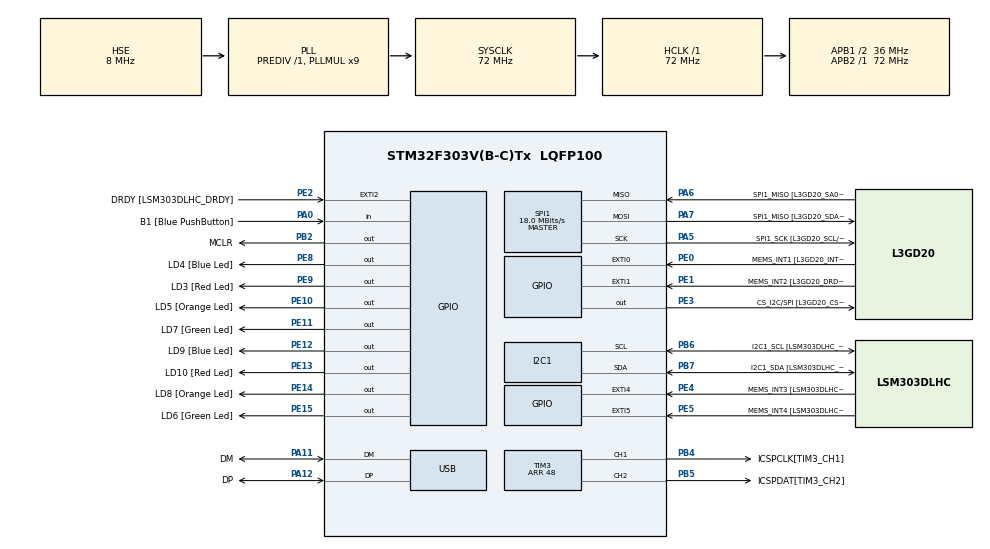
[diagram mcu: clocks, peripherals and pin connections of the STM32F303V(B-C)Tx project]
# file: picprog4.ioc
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CRC.CRCLength=CRC_POLYLENGTH_16B
CRC.DefaultInitValueUse=DEFAULT_INIT_VALUE_DISABLE
CRC.DefaultPolynomialUse=DEFAULT_POLYNOMIAL_DISABLE
CRC.GeneratingPolynomial=X12+X5+X0
CRC.InitValue=0xFFFF
Dma.Request0=TIM3_CH3
Dma.Request1=TIM3_CH4/UP
Dma.Request2=TIM3_CH1/TRIG
Dma.TIM3_CH1/TRIG.2.Direction=DMA_PERIPH_TO_MEMORY
Dma.TIM3_CH1/TRIG.2.Instance=DMA1_Channel6
Dma.TIM3_CH1/TRIG.2.MemDataAlignment=DMA_MDATAALIGN_HALFWORD
Dma.TIM3_CH1/TRIG.2.MemInc=DMA_MINC_ENABLE
Dma.TIM3_CH1/TRIG.2.Mode=DMA_NORMAL
Dma.TIM3_CH1/TRIG.2.PeriphDataAlignment=DMA_PDATAALIGN_WORD
Dma.TIM3_CH1/TRIG.2.PeriphInc=DMA_PINC_DISABLE
Dma.TIM3_CH1/TRIG.2.Priority=DMA_PRIORITY_LOW
Dma.TIM3_CH3.0.Direction=DMA_MEMORY_TO_PERIPH
Dma.TIM3_CH3.0.Instance=DMA1_Channel2
Dma.TIM3_CH3.0.MemDataAlignment=DMA_MDATAALIGN_BYTE
Dma.TIM3_CH3.0.MemInc=DMA_MINC_ENABLE
Dma.TIM3_CH3.0.Mode=DMA_NORMAL
Dma.TIM3_CH3.0.PeriphDataAlignment=DMA_PDATAALIGN_WORD
Dma.TIM3_CH3.0.PeriphInc=DMA_PINC_DISABLE
Dma.TIM3_CH3.0.Priority=DMA_PRIORITY_LOW
Dma.TIM3_CH4/UP.1.Direction=DMA_MEMORY_TO_PERIPH
Dma.TIM3_CH4/UP.1.Instance=DMA1_Channel3
Dma.TIM3_CH4/UP.1.MemDataAlignment=DMA_MDATAALIGN_BYTE
Dma.TIM3_CH4/UP.1.MemInc=DMA_MINC_ENABLE
Dma.TIM3_CH4/UP.1.Mode=DMA_NORMAL
Dma.TIM3_CH4/UP.1.PeriphDataAlignment=DMA_PDATAALIGN_WORD
Dma.TIM3_CH4/UP.1.PeriphInc=DMA_PINC_DISABLE
Dma.TIM3_CH4/UP.1.Priority=DMA_PRIORITY_MEDIUM
I2C1.Timing-I2C=0x2000090E
Mcu.Family=STM32F3
Mcu.Name=STM32F303V(B-C)Tx
Mcu.Package=LQFP100
NVIC.DMA1_Channel2_IRQn=true\:0\:0\:false\:false\:true\:false\:true
NVIC.DMA1_Channel3_IRQn=true\:0\:0\:false\:false\:true\:false\:true
NVIC.DMA1_Channel6_IRQn=true\:0\:0\:false\:false\:true\:false\:true
NVIC.PriorityGroup=NVIC_PRIORITYGROUP_0
NVIC.USB_LP_CAN_RX0_IRQn=true\:0\:0\:false\:false\:true\:false\:true
PA0.GPIO_Label=B1 [Blue PushButton]
PA0.Signal=GPIO_Input
PA11.GPIO_Label=DM
PA11.Mode=Device
PA11.Signal=USB_DM
PA12.GPIO_Label=DP
PA12.Mode=Device
PA12.Signal=USB_DP
PA13.GPIO_Label=SWDIO
PA13.Mode=Serial_Wire
PA13.Signal=SYS_JTMS-SWDIO
PA14.GPIO_Label=SWCLK
PA14.Mode=Serial_Wire
PA14.Signal=SYS_JTCK-SWCLK
PA5.GPIO_Label=SPI1_SCK [L3GD20_SCL/SPC]
PA5.Mode=Full_Duplex_Master
PA5.Signal=SPI1_SCK
PA6.GPIO_Label=SPI1_MISO [L3GD20_SA0/SDO]
PA6.Mode=Full_Duplex_Master
PA6.Signal=SPI1_MISO
PA7.GPIO_Label=SPI1_MISO [L3GD20_SDA/SDI/SDO]
PA7.Mode=Full_Duplex_Master
PA7.Signal=SPI1_MOSI
PB2.GPIO_Label=MCLR
PB2.PinState=GPIO_PIN_SET
PB2.Signal=GPIO_Output
PB3.GPIO_Label=SWO
PB3.Signal=SYS_JTDO-TRACESWO
PB4.GPIO_Label=ICSPCLK[TIM3_CH1]
PB4.GPIO_PuPd=GPIO_NOPULL
PB4.GPIO_Speed=GPIO_SPEED_FREQ_HIGH
PB4.Signal=S_TIM3_CH1
PB5.GPIO_Label=ICSPDAT[TIM3_CH2]
PB5.GPIO_PuPd=GPIO_NOPULL
PB5.GPIO_Speed=GPIO_SPEED_FREQ_HIGH
PB5.Signal=S_TIM3_CH2
PB6.GPIO_Label=I2C1_SCL [LSM303DLHC_SCL]
PB6.Mode=I2C
PB6.Signal=I2C1_SCL
PB7.GPIO_Label=I2C1_SDA [LSM303DLHC_SDA]
PB7.Mode=I2C
PB7.Signal=I2C1_SDA
PC14-OSC32_IN.GPIO_Label=OSC32_IN
PC14-OSC32_IN.Signal=RCC_OSC32_IN
PC15-OSC32_OUT.GPIO_Label=OSC32_OUT
PC15-OSC32_OUT.Signal=RCC_OSC32_OUT
PE0.GPIO_Label=MEMS_INT1 [L3GD20_INT1]
PE0.GPIO_ModeDefaultEXTI=GPIO_MODE_EVT_RISING
PE0.Signal=GPXTI0
PE1.GPIO_Label=MEMS_INT2 [L3GD20_DRDY/INT2]
PE1.GPIO_ModeDefaultEXTI=GPIO_MODE_EVT_RISING
PE1.Signal=GPXTI1
PE10.GPIO_Label=LD5 [Orange Led]
PE10.GPIO_PuPd=GPIO_PULLUP
PE10.GPIO_Speed=GPIO_SPEED_FREQ_HIGH
PE10.Signal=GPIO_Output
PE11.GPIO_Label=LD7 [Green Led]
PE11.GPIO_PuPd=GPIO_PULLUP
PE11.GPIO_Speed=GPIO_SPEED_FREQ_HIGH
PE11.Signal=GPIO_Output
PE12.GPIO_Label=LD9 [Blue Led]
PE12.GPIO_PuPd=GPIO_PULLUP
PE12.GPIO_Speed=GPIO_SPEED_FREQ_HIGH
PE12.Signal=GPIO_Output
PE13.GPIO_Label=LD10 [Red Led]
PE13.GPIO_PuPd=GPIO_PULLUP
PE13.GPIO_Speed=GPIO_SPEED_FREQ_HIGH
PE13.Signal=GPIO_Output
PE14.GPIO_Label=LD8 [Orange Led]
PE14.GPIO_PuPd=GPIO_PULLUP
PE14.GPIO_Speed=GPIO_SPEED_FREQ_HIGH
PE14.Signal=GPIO_Output
PE15.GPIO_Label=LD6 [Green Led]
PE15.GPIO_PuPd=GPIO_PULLUP
PE15.GPIO_Speed=GPIO_SPEED_FREQ_HIGH
PE15.Signal=GPIO_Output
PE2.GPIO_Label=DRDY [LSM303DLHC_DRDY]
PE2.GPIO_ModeDefaultEXTI=GPIO_MODE_EVT_RISING
PE2.Signal=GPXTI2
PE3.GPIO_Label=CS_I2C/SPI [L3GD20_CS_I2C/SPI]
PE3.Signal=GPIO_Output
PE4.GPIO_Label=MEMS_INT3 [LSM303DLHC_INT1]
PE4.GPIO_ModeDefaultEXTI=GPIO_MODE_EVT_RISING
PE4.Signal=GPXTI4
PE5.GPIO_Label=MEMS_INT4 [LSM303DLHC_INT2]
PE5.GPIO_ModeDefaultEXTI=GPIO_MODE_EVT_RISING
PE5.Signal=GPXTI5
PE8.GPIO_Label=LD4 [Blue Led]
PE8.GPIO_PuPd=GPIO_PULLUP
PE8.GPIO_Speed=GPIO_SPEED_FREQ_HIGH
PE8.Signal=GPIO_Output
PE9.GPIO_Label=LD3 [Red Led]
PE9.GPIO_PuPd=GPIO_PULLUP
PE9.GPIO_Speed=GPIO_SPEED_FREQ_HIGH
PE9.Signal=GPIO_Output
PF0-OSC_IN.GPIO_Label=OSC_IN
PF0-OSC_IN.Mode=HSE-External-Clock-Source
PF0-OSC_IN.Signal=RCC_OSC_IN
PF1-OSC_OUT.GPIO_Label=OSC_OUT
PF1-OSC_OUT.Signal=RCC_OSC_OUT
ProjectManager.HeapSize=0x2000
ProjectManager.StackSize=0x400
ProjectManager.TargetToolchain=STM32CubeIDE
RCC.AHBFreq_Value=72000000
RCC.APB1CLKDivider=RCC_HCLK_DIV2
RCC.APB1Freq_Value=36000000
RCC.APB1TimFreq_Value=72000000
RCC.APB2Freq_Value=72000000
RCC.APB2TimFreq_Value=72000000
RCC.CortexFreq_Value=72000000
RCC.HCLKFreq_Value=72000000
RCC.HSE_VALUE=8000000
RCC.HSI_VALUE=8000000
RCC.LSE_VALUE=32768
RCC.PLLMUL=RCC_PLL_MUL9
RCC.PRESCALERUSB=RCC_USBCLKSOURCE_PLL_DIV1_5
RCC.SYSCLKFreq_VALUE=72000000
RCC.SYSCLKSourceVirtual=RCC_SYSCLKSOURCE_PLLCLK
RCC.USBFreq_Value=48000000
SH.S_TIM3_CH1.0=TIM3_CH1,PWM Generation1 CH1
SH.S_TIM3_CH2.0=TIM3_CH2,PWM Generation2 CH2
SPI1.BaudRatePrescaler=SPI_BAUDRATEPRESCALER_4
SPI1.BaudRatePrescaler-Full_Duplex_Master=SPI_BAUDRATEPRESCALER_2
SPI1.CalculateBaudRate=18.0 MBits/s
SPI1.CalculateBaudRate-Full_Duplex_Master=24.0 MBits/s
SPI1.Direction=SPI_DIRECTION_2LINES
SPI1.Mode=SPI_MODE_MASTER
SPI1.Mode-Full_Duplex_Master=SPI_MODE_MASTER
SPI1.VirtualType=VM_MASTER
TIM2.AutoReloadPreload=TIM_AUTORELOAD_PRELOAD_ENABLE
TIM2.Period=0xFFFFFFFF
TIM2.Prescaler=47
TIM2.TIM_MasterOutputTrigger=TIM_TRGO_UPDATE
TIM3.AutoReloadPreload=TIM_AUTORELOAD_PRELOAD_ENABLE
TIM3.Channel-Output\ Compare3\ No\ Output=TIM_CHANNEL_3
TIM3.Channel-Output\ Compare4\ No\ Output=TIM_CHANNEL_4
TIM3.Channel-PWM\ Generation1\ CH1=TIM_CHANNEL_1
TIM3.Channel-PWM\ Generation2\ CH2=TIM_CHANNEL_2
TIM3.OCFastMode_PWM-PWM\ Generation1\ CH1=TIM_OCFAST_ENABLE
TIM3.OCFastMode_PWM-PWM\ Generation2\ CH2=TIM_OCFAST_ENABLE
TIM3.Period=48
TIM3.Pulse-Output\ Compare3\ No\ Output=1
TIM3.Pulse-Output\ Compare4\ No\ Output=3
TIM3.Pulse-PWM\ Generation1\ CH1=0
TIM3.Pulse-PWM\ Generation2\ CH2=0
TIM3.TIM_MasterOutputTrigger=TIM_TRGO_RESET
USB_DEVICE.CLASS_NAME_FS=CDC
USB_DEVICE.VirtualMode=Cdc
USB_DEVICE.VirtualModeFS=Cdc_FS
VP_CRC_VS_CRC.Mode=CRC_Activate
VP_TIM2_VS_ClockSourceINT.Mode=Internal
VP_TIM3_VS_ClockSourceINT.Mode=Internal
VP_TIM3_VS_no_output3.Mode=Output Compare3 No Output
VP_TIM3_VS_no_output4.Mode=Output Compare4 No Output
VP_USB_DEVICE_VS_USB_DEVICE_CDC_FS.Mode=CDC_FS
board=STM32F3DISCOVERY

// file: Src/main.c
/* USER CODE BEGIN Header */
/**
  ******************************************************************************
  * @file           : main.c
  * @brief          : Main program body
  ******************************************************************************
  * This notice applies to any and all portions of this file
  * that are not between comment pairs USER CODE BEGIN and
  * USER CODE END. Other portions of this file, whether
  * inserted by the user or by software development tools
  * are owned by their respective copyright owners.
  *
  * Copyright (c) 2018 STMicroelectronics International N.V.
  * All rights reserved.
  *
  * Redistribution and use in source and binary forms, with or without
  * modification, are permitted, provided that the following conditions are met:
  *
  * 1. Redistribution of source code must retain the above copyright notice,
  *    this list of conditions and the following disclaimer.
  * 2. Redistributions in binary form must reproduce the above copyright notice,
  *    this list of conditions and the following disclaimer in the documentation
  *    and/or other materials provided with the distribution.
  * 3. Neither the name of STMicroelectronics nor the names of other
  *    contributors to this software may be used to endorse or promote products
  *    derived from this software without specific written permission.
  * 4. This software, including modifications and/or derivative works of this
  *    software, must execute solely and exclusively on microcontroller or
  *    microprocessor devices manufactured by or for STMicroelectronics.
  * 5. Redistribution and use of this software other than as permitted under
  *    this license is void and will automatically terminate your rights under
  *    this license.
  *
  * THIS SOFTWARE IS PROVIDED BY STMICROELECTRONICS AND CONTRIBUTORS "AS IS"
  * AND ANY EXPRESS, IMPLIED OR STATUTORY WARRANTIES, INCLUDING, BUT NOT
  * LIMITED TO, THE IMPLIED WARRANTIES OF MERCHANTABILITY, FITNESS FOR A
  * PARTICULAR PURPOSE AND NON-INFRINGEMENT OF THIRD PARTY INTELLECTUAL PROPERTY
  * RIGHTS ARE DISCLAIMED TO THE FULLEST EXTENT PERMITTED BY LAW. IN NO EVENT
  * SHALL STMICROELECTRONICS OR CONTRIBUTORS BE LIABLE FOR ANY DIRECT, INDIRECT,
  * INCIDENTAL, SPECIAL, EXEMPLARY, OR CONSEQUENTIAL DAMAGES (INCLUDING, BUT NOT
  * LIMITED TO, PROCUREMENT OF SUBSTITUTE GOODS OR SERVICES; LOSS OF USE, DATA,
  * OR PROFITS; OR BUSINESS INTERRUPTION) HOWEVER CAUSED AND ON ANY THEORY OF
  * LIABILITY, WHETHER IN CONTRACT, STRICT LIABILITY, OR TORT (INCLUDING
  * NEGLIGENCE OR OTHERWISE) ARISING IN ANY WAY OUT OF THE USE OF THIS SOFTWARE,
  * EVEN IF ADVISED OF THE POSSIBILITY OF SUCH DAMAGE.
  *
  ******************************************************************************
  */
/* USER CODE END Header */
#include "main.h"
#include "usb_device.h"

/* USER CODE BEGIN Includes */
#include "picprog.h"
#include "usbd_cdc_if.h"
#include "stm32f303xc.h"
#include "stm32f3xx.h"
#include "stm32f3xx_hal_gpio.h"
/* USER CODE END Includes */

CRC_HandleTypeDef hcrc;

I2C_HandleTypeDef hi2c1;

SPI_HandleTypeDef hspi1;

TIM_HandleTypeDef htim2;
TIM_HandleTypeDef htim3;
DMA_HandleTypeDef hdma_tim3_ch3;
DMA_HandleTypeDef hdma_tim3_ch4_up;
DMA_HandleTypeDef hdma_tim3_ch1_trig;

/* USER CODE BEGIN PV */
extern USBD_HandleTypeDef hUsbDeviceFS;
extern uint16_t tents,tenth,tdly;
extern uint32_t terar,terab,tpint;
extern uint8_t packet_len;
extern volatile uint8_t i_cc1,i_cc3,i_cc4;
extern uint8_t *packet;
extern uint16_t offset;
/* USER CODE END PV */

void SystemClock_Config(void);
static void MX_GPIO_Init(void);
static void MX_DMA_Init(void);
static void MX_I2C1_Init(void);
static void MX_SPI1_Init(void);
static void MX_TIM2_Init(void);
static void MX_TIM3_Init(void);
static void MX_CRC_Init(void);

int main(void)
{

  /* MCU Configuration--------------------------------------------------------*/

  /* Reset of all peripherals, Initializes the Flash interface and the Systick. */
  HAL_Init();

  /* Configure the system clock */
  SystemClock_Config();

  /* Initialize all configured peripherals */
  MX_GPIO_Init();
  MX_DMA_Init();
  MX_I2C1_Init();
  MX_SPI1_Init();
//  MX_USB_DEVICE_Init();
  MX_TIM2_Init();
  MX_TIM3_Init();
  MX_CRC_Init();
  /* USER CODE BEGIN 2 */

  HAL_Delay(1000);

  /* BEGIN USB Reset */

  /* PowerOff USB */

  *(uint16_t*)(USB_CNTR)=USB_CNTR_FRES;
  *(uint16_t*)(USB_ISTR)=0;
  *(uint16_t*)(USB_CNTR)=USB_CNTR_PDWN | USB_CNTR_FRES;

  /* Program USB Pin DP_Pin from Input to Output */

  GPIO_InitTypeDef  GPIO_InitStructure;
  GPIO_InitStructure.Pin = DP_Pin;
  GPIO_InitStructure.Speed = GPIO_SPEED_FREQ_HIGH;
  GPIO_InitStructure.Mode = GPIO_MODE_OUTPUT_PP;
  GPIO_InitStructure.Pull = GPIO_NOPULL;
  HAL_GPIO_Init(DP_GPIO_Port, &GPIO_InitStructure);

  /* Set USB_DP to 0 */

  HAL_GPIO_WritePin(DP_GPIO_Port, DP_Pin, GPIO_PIN_RESET);
  HAL_Delay(2000);

  /* Restore USB Settings */

  MX_USB_DEVICE_Init();
  HAL_Delay(1000);

  /* END USB Reset */

  picprog_init();

  /* USER CODE END 2 */

  /* Infinite loop */
  /* USER CODE BEGIN WHILE */
  while (1)
  {
    uint8_t l;
	if(fb_read()>1)
	{
		switch(packet[3]&0x3F)
		{
			case START:
				HAL_GPIO_WritePin(MCLR_GPIO_Port, MCLR_Pin, GPIO_PIN_SET);
				gpio_af();
				HAL_Delay(5);
				enter_pm();
				send_ack();
				continue;
			case ERASE_ALL:
				erase_all();
				send_ack();
				continue;
			case WRITE:
				if(packet[3]&FLAG_ERASE) row_erase(packet);
				for(l=0;l<N_OF_WRITE_TRIES;l++)
				{
					write_flash(packet);
					if(!(packet[3]&FLAG_CHECK) || test_flash(packet)) break;
					row_erase(packet);
				}
				if(l<N_OF_WRITE_TRIES) send_ack();
				else send_nack();
				continue;
			case READ:
				send_flash(packet);
				continue;
			case STOP:
				exit_pm();
				send_ack();
				gpio_input();
				HAL_Delay(1000);
//				HAL_GPIO_WritePin(MCLR_GPIO_Port, MCLR_Pin, GPIO_PIN_RESET);
				continue;
		}
	}
	HAL_Delay(1);
    /* USER CODE END WHILE */

  }
}

void SystemClock_Config(void)
{
  RCC_OscInitTypeDef RCC_OscInitStruct = {0};
  RCC_ClkInitTypeDef RCC_ClkInitStruct = {0};
  RCC_PeriphCLKInitTypeDef PeriphClkInit = {0};

  /** Initializes the RCC Oscillators according to the specified parameters
  * in the RCC_OscInitTypeDef structure.
  */
  RCC_OscInitStruct.OscillatorType = RCC_OSCILLATORTYPE_HSI|RCC_OSCILLATORTYPE_HSE;
  RCC_OscInitStruct.HSEState = RCC_HSE_BYPASS;
  RCC_OscInitStruct.HSEPredivValue = RCC_HSE_PREDIV_DIV1;
  RCC_OscInitStruct.HSIState = RCC_HSI_ON;
  RCC_OscInitStruct.HSICalibrationValue = RCC_HSICALIBRATION_DEFAULT;
  RCC_OscInitStruct.PLL.PLLState = RCC_PLL_ON;
  RCC_OscInitStruct.PLL.PLLSource = RCC_PLLSOURCE_HSE;
  RCC_OscInitStruct.PLL.PLLMUL = RCC_PLL_MUL9;
  if (HAL_RCC_OscConfig(&RCC_OscInitStruct) != HAL_OK)
  {
    Error_Handler();
  }
  /** Initializes the CPU, AHB and APB buses clocks
  */
  RCC_ClkInitStruct.ClockType = RCC_CLOCKTYPE_HCLK|RCC_CLOCKTYPE_SYSCLK
                              |RCC_CLOCKTYPE_PCLK1|RCC_CLOCKTYPE_PCLK2;
  RCC_ClkInitStruct.SYSCLKSource = RCC_SYSCLKSOURCE_PLLCLK;
  RCC_ClkInitStruct.AHBCLKDivider = RCC_SYSCLK_DIV1;
  RCC_ClkInitStruct.APB1CLKDivider = RCC_HCLK_DIV2;
  RCC_ClkInitStruct.APB2CLKDivider = RCC_HCLK_DIV1;

  if (HAL_RCC_ClockConfig(&RCC_ClkInitStruct, FLASH_LATENCY_2) != HAL_OK)
  {
    Error_Handler();
  }
  PeriphClkInit.PeriphClockSelection = RCC_PERIPHCLK_USB|RCC_PERIPHCLK_I2C1;
  PeriphClkInit.I2c1ClockSelection = RCC_I2C1CLKSOURCE_HSI;
  PeriphClkInit.USBClockSelection = RCC_USBCLKSOURCE_PLL_DIV1_5;
  if (HAL_RCCEx_PeriphCLKConfig(&PeriphClkInit) != HAL_OK)
  {
    Error_Handler();
  }
}

static void MX_CRC_Init(void)
{

  hcrc.Instance = CRC;
  hcrc.Init.DefaultPolynomialUse = DEFAULT_POLYNOMIAL_DISABLE;
  hcrc.Init.DefaultInitValueUse = DEFAULT_INIT_VALUE_DISABLE;
  hcrc.Init.GeneratingPolynomial = 4129;
  hcrc.Init.CRCLength = CRC_POLYLENGTH_16B;
  hcrc.Init.InitValue = 0xFFFF;
  hcrc.Init.InputDataInversionMode = CRC_INPUTDATA_INVERSION_NONE;
  hcrc.Init.OutputDataInversionMode = CRC_OUTPUTDATA_INVERSION_DISABLE;
  hcrc.InputDataFormat = CRC_INPUTDATA_FORMAT_BYTES;
  if (HAL_CRC_Init(&hcrc) != HAL_OK)
  {
    Error_Handler();
  }

}

static void MX_I2C1_Init(void)
{

  hi2c1.Instance = I2C1;
  hi2c1.Init.Timing = 0x2000090E;
  hi2c1.Init.OwnAddress1 = 0;
  hi2c1.Init.AddressingMode = I2C_ADDRESSINGMODE_7BIT;
  hi2c1.Init.DualAddressMode = I2C_DUALADDRESS_DISABLE;
  hi2c1.Init.OwnAddress2 = 0;
  hi2c1.Init.OwnAddress2Masks = I2C_OA2_NOMASK;
  hi2c1.Init.GeneralCallMode = I2C_GENERALCALL_DISABLE;
  hi2c1.Init.NoStretchMode = I2C_NOSTRETCH_DISABLE;
  if (HAL_I2C_Init(&hi2c1) != HAL_OK)
  {
    Error_Handler();
  }
  /** Configure Analogue filter
  */
  if (HAL_I2CEx_ConfigAnalogFilter(&hi2c1, I2C_ANALOGFILTER_ENABLE) != HAL_OK)
  {
    Error_Handler();
  }
  /** Configure Digital filter
  */
  if (HAL_I2CEx_ConfigDigitalFilter(&hi2c1, 0) != HAL_OK)
  {
    Error_Handler();
  }

}

static void MX_SPI1_Init(void)
{

  /* SPI1 parameter configuration*/
  hspi1.Instance = SPI1;
  hspi1.Init.Mode = SPI_MODE_MASTER;
  hspi1.Init.Direction = SPI_DIRECTION_2LINES;
  hspi1.Init.DataSize = SPI_DATASIZE_4BIT;
  hspi1.Init.CLKPolarity = SPI_POLARITY_LOW;
  hspi1.Init.CLKPhase = SPI_PHASE_1EDGE;
  hspi1.Init.NSS = SPI_NSS_SOFT;
  hspi1.Init.BaudRatePrescaler = SPI_BAUDRATEPRESCALER_4;
  hspi1.Init.FirstBit = SPI_FIRSTBIT_MSB;
  hspi1.Init.TIMode = SPI_TIMODE_DISABLE;
  hspi1.Init.CRCCalculation = SPI_CRCCALCULATION_DISABLE;
  hspi1.Init.CRCPolynomial = 7;
  hspi1.Init.CRCLength = SPI_CRC_LENGTH_DATASIZE;
  hspi1.Init.NSSPMode = SPI_NSS_PULSE_ENABLE;
  if (HAL_SPI_Init(&hspi1) != HAL_OK)
  {
    Error_Handler();
  }

}

static void MX_TIM2_Init(void)
{

  TIM_ClockConfigTypeDef sClockSourceConfig = {0};
  TIM_MasterConfigTypeDef sMasterConfig = {0};

  htim2.Instance = TIM2;
  htim2.Init.Prescaler = 47;
  htim2.Init.CounterMode = TIM_COUNTERMODE_UP;
  htim2.Init.Period = 0xFFFFFFFF;
  htim2.Init.ClockDivision = TIM_CLOCKDIVISION_DIV1;
  htim2.Init.AutoReloadPreload = TIM_AUTORELOAD_PRELOAD_ENABLE;
  if (HAL_TIM_Base_Init(&htim2) != HAL_OK)
  {
    Error_Handler();
  }
  sClockSourceConfig.ClockSource = TIM_CLOCKSOURCE_INTERNAL;
  if (HAL_TIM_ConfigClockSource(&htim2, &sClockSourceConfig) != HAL_OK)
  {
    Error_Handler();
  }
  sMasterConfig.MasterOutputTrigger = TIM_TRGO_UPDATE;
  sMasterConfig.MasterSlaveMode = TIM_MASTERSLAVEMODE_DISABLE;
  if (HAL_TIMEx_MasterConfigSynchronization(&htim2, &sMasterConfig) != HAL_OK)
  {
    Error_Handler();
  }

}

static void MX_TIM3_Init(void)
{

  TIM_ClockConfigTypeDef sClockSourceConfig = {0};
  TIM_MasterConfigTypeDef sMasterConfig = {0};
  TIM_OC_InitTypeDef sConfigOC = {0};

  htim3.Instance = TIM3;
  htim3.Init.Prescaler = 0;
  htim3.Init.CounterMode = TIM_COUNTERMODE_UP;
  htim3.Init.Period = 48;
  htim3.Init.ClockDivision = TIM_CLOCKDIVISION_DIV1;
  htim3.Init.AutoReloadPreload = TIM_AUTORELOAD_PRELOAD_ENABLE;
  if (HAL_TIM_Base_Init(&htim3) != HAL_OK)
  {
    Error_Handler();
  }
  sClockSourceConfig.ClockSource = TIM_CLOCKSOURCE_INTERNAL;
  if (HAL_TIM_ConfigClockSource(&htim3, &sClockSourceConfig) != HAL_OK)
  {
    Error_Handler();
  }
  if (HAL_TIM_PWM_Init(&htim3) != HAL_OK)
  {
    Error_Handler();
  }
  if (HAL_TIM_OC_Init(&htim3) != HAL_OK)
  {
    Error_Handler();
  }
  sMasterConfig.MasterOutputTrigger = TIM_TRGO_RESET;
  sMasterConfig.MasterSlaveMode = TIM_MASTERSLAVEMODE_DISABLE;
  if (HAL_TIMEx_MasterConfigSynchronization(&htim3, &sMasterConfig) != HAL_OK)
  {
    Error_Handler();
  }
  sConfigOC.OCMode = TIM_OCMODE_PWM1;
  sConfigOC.Pulse = 0;
  sConfigOC.OCPolarity = TIM_OCPOLARITY_HIGH;
  sConfigOC.OCFastMode = TIM_OCFAST_ENABLE;
  if (HAL_TIM_PWM_ConfigChannel(&htim3, &sConfigOC, TIM_CHANNEL_1) != HAL_OK)
  {
    Error_Handler();
  }
  if (HAL_TIM_PWM_ConfigChannel(&htim3, &sConfigOC, TIM_CHANNEL_2) != HAL_OK)
  {
    Error_Handler();
  }
  sConfigOC.OCMode = TIM_OCMODE_TIMING;
  sConfigOC.Pulse = 1;
  sConfigOC.OCFastMode = TIM_OCFAST_DISABLE;
  if (HAL_TIM_OC_ConfigChannel(&htim3, &sConfigOC, TIM_CHANNEL_3) != HAL_OK)
  {
    Error_Handler();
  }
  sConfigOC.Pulse = 3;
  if (HAL_TIM_OC_ConfigChannel(&htim3, &sConfigOC, TIM_CHANNEL_4) != HAL_OK)
  {
    Error_Handler();
  }
  HAL_TIM_MspPostInit(&htim3);

}

static void MX_DMA_Init(void)
{

  /* DMA controller clock enable */
  __HAL_RCC_DMA1_CLK_ENABLE();

  /* DMA interrupt init */
  /* DMA1_Channel2_IRQn interrupt configuration */
  HAL_NVIC_SetPriority(DMA1_Channel2_IRQn, 0, 0);
  HAL_NVIC_EnableIRQ(DMA1_Channel2_IRQn);
  /* DMA1_Channel3_IRQn interrupt configuration */
  HAL_NVIC_SetPriority(DMA1_Channel3_IRQn, 0, 0);
  HAL_NVIC_EnableIRQ(DMA1_Channel3_IRQn);
  /* DMA1_Channel6_IRQn interrupt configuration */
  HAL_NVIC_SetPriority(DMA1_Channel6_IRQn, 0, 0);
  HAL_NVIC_EnableIRQ(DMA1_Channel6_IRQn);

}

static void MX_GPIO_Init(void)
{
  GPIO_InitTypeDef GPIO_InitStruct = {0};

  /* GPIO Ports Clock Enable */
  __HAL_RCC_GPIOE_CLK_ENABLE();
  __HAL_RCC_GPIOC_CLK_ENABLE();
  __HAL_RCC_GPIOF_CLK_ENABLE();
  __HAL_RCC_GPIOA_CLK_ENABLE();
  __HAL_RCC_GPIOB_CLK_ENABLE();

  /*Configure GPIO pin Output Level */
  HAL_GPIO_WritePin(GPIOE, CS_I2C_SPI_Pin|LD4_Pin|LD3_Pin|LD5_Pin
                          |LD7_Pin|LD9_Pin|LD10_Pin|LD8_Pin
                          |LD6_Pin, GPIO_PIN_RESET);

  /*Configure GPIO pin Output Level */
  HAL_GPIO_WritePin(MCLR_GPIO_Port, MCLR_Pin, GPIO_PIN_SET);

  /*Configure GPIO pins : DRDY_Pin MEMS_INT3_Pin MEMS_INT4_Pin MEMS_INT1_Pin
                           MEMS_INT2_Pin */
  GPIO_InitStruct.Pin = DRDY_Pin|MEMS_INT3_Pin|MEMS_INT4_Pin|MEMS_INT1_Pin
                          |MEMS_INT2_Pin;
  GPIO_InitStruct.Mode = GPIO_MODE_EVT_RISING;
  GPIO_InitStruct.Pull = GPIO_NOPULL;
  HAL_GPIO_Init(GPIOE, &GPIO_InitStruct);

  /*Configure GPIO pin : CS_I2C_SPI_Pin */
  GPIO_InitStruct.Pin = CS_I2C_SPI_Pin;
  GPIO_InitStruct.Mode = GPIO_MODE_OUTPUT_PP;
  GPIO_InitStruct.Pull = GPIO_NOPULL;
  GPIO_InitStruct.Speed = GPIO_SPEED_FREQ_LOW;
  HAL_GPIO_Init(CS_I2C_SPI_GPIO_Port, &GPIO_InitStruct);

  /*Configure GPIO pin : B1_Pin */
  GPIO_InitStruct.Pin = B1_Pin;
  GPIO_InitStruct.Mode = GPIO_MODE_INPUT;
  GPIO_InitStruct.Pull = GPIO_NOPULL;
  HAL_GPIO_Init(B1_GPIO_Port, &GPIO_InitStruct);

  /*Configure GPIO pin : MCLR_Pin */
  GPIO_InitStruct.Pin = MCLR_Pin;
//  GPIO_InitStruct.Mode = GPIO_MODE_OUTPUT_PP;
  GPIO_InitStruct.Mode = GPIO_MODE_OUTPUT_OD;
//  GPIO_InitStruct.Pull = GPIO_NOPULL;
  GPIO_InitStruct.Speed = GPIO_SPEED_FREQ_LOW;
  HAL_GPIO_Init(MCLR_GPIO_Port, &GPIO_InitStruct);

  /*Configure GPIO pins : LD4_Pin LD3_Pin LD5_Pin LD7_Pin
                           LD9_Pin LD10_Pin LD8_Pin LD6_Pin */
  GPIO_InitStruct.Pin = LD4_Pin|LD3_Pin|LD5_Pin|LD7_Pin
                          |LD9_Pin|LD10_Pin|LD8_Pin|LD6_Pin;
  GPIO_InitStruct.Mode = GPIO_MODE_OUTPUT_PP;
  GPIO_InitStruct.Pull = GPIO_PULLUP;
  GPIO_InitStruct.Speed = GPIO_SPEED_FREQ_HIGH;
  HAL_GPIO_Init(GPIOE, &GPIO_InitStruct);

}

void Error_Handler(void)
{
}

/************************ (C) COPYRIGHT STMicroelectronics *****END OF FILE****/
